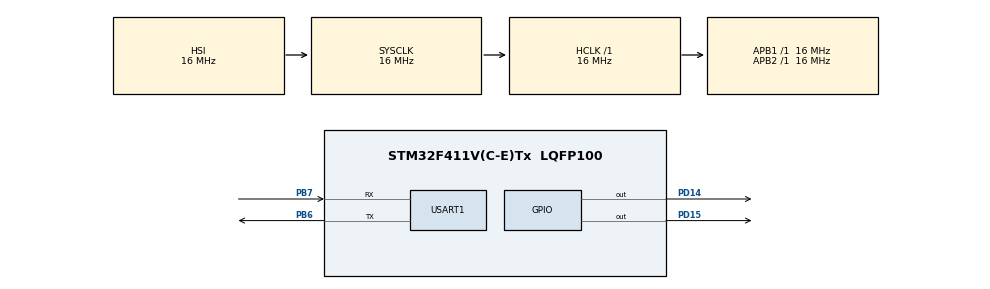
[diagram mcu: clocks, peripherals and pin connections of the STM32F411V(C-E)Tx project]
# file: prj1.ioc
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FREERTOS.Mutexes01=uart_,Dynamic,NULL,Available
FREERTOS.Queues01=data_queue_,128,uint8_t,0,Dynamic,NULL,NULL
FREERTOS.Tasks01=task1,24,128,task1_blink_red_led,Default,NULL,Dynamic,NULL,NULL;task2,8,128,task2_blink_blue_led,Default,NULL,Dynamic,NULL,NULL
Mcu.Family=STM32F4
Mcu.Name=STM32F411V(C-E)Tx
Mcu.Package=LQFP100
NVIC.PriorityGroup=NVIC_PRIORITYGROUP_4
PB6.Mode=Asynchronous
PB6.Signal=USART1_TX
PB7.Mode=Asynchronous
PB7.Signal=USART1_RX
PD14.Signal=GPIO_Output
PD15.Signal=GPIO_Output
ProjectManager.HeapSize=0x200
ProjectManager.StackSize=0x400
ProjectManager.TargetToolchain=STM32CubeIDE
RCC.AHBFreq_Value=16000000
RCC.APB1Freq_Value=16000000
RCC.APB2Freq_Value=16000000
RCC.CortexFreq_Value=16000000
RCC.HSE_VALUE=25000000
RCC.HSI_VALUE=16000000
RCC.LSE_VALUE=32768
RCC.SYSCLKFreq_VALUE=16000000
RCC.VCOOutputFreq_Value=192000000
USART1.VirtualMode=VM_ASYNC
VP_FREERTOS_VS_CMSIS_V2.Mode=CMSIS_V2
board=custom

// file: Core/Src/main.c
/* USER CODE BEGIN Header */
/**
  ******************************************************************************
  * @file           : main.c
  * @brief          : Main program body
  ******************************************************************************
  * @attention
  *
  * Copyright (c) 2025 STMicroelectronics.
  * All rights reserved.
  *
  * This software is licensed under terms that can be found in the LICENSE file
  * in the root directory of this software component.
  * If no LICENSE file comes with this software, it is provided AS-IS.
  *
  ******************************************************************************
  */
/* USER CODE END Header */
#include "main.h"
#include "cmsis_os.h"

/* USER CODE BEGIN Includes */
#include <string.h>
#include <stdarg.h>
#include <stdio.h>
/* USER CODE END Includes */

UART_HandleTypeDef huart1;

/* Definitions for task1 */
osThreadId_t task1Handle;
const osThreadAttr_t task1_attributes = {
  .name = "task1",
  .stack_size = 128 * 4,
  .priority = (osPriority_t) osPriorityNormal,
};
/* Definitions for task2 */
osThreadId_t task2Handle;
const osThreadAttr_t task2_attributes = {
  .name = "task2",
  .stack_size = 128 * 4,
  .priority = (osPriority_t) osPriorityLow,
};
/* Definitions for data_queue_ */
osMessageQueueId_t data_queue_Handle;
const osMessageQueueAttr_t data_queue__attributes = {
  .name = "data_queue_"
};
/* Definitions for uart_ */
osMutexId_t uart_Handle;
const osMutexAttr_t uart__attributes = {
  .name = "uart_"
};

void SystemClock_Config(void);
static void MX_GPIO_Init(void);
static void MX_USART1_UART_Init(void);
void task1_blink_red_led(void *argument);
void task2_blink_blue_led(void *argument);

/* USER CODE BEGIN 0 */
char* state[] = { "Inactive", "Ready", "Running", "Blocked", "Terminated" };

void my_print_log(const char* str, ...)
{
	va_list args;
	va_start(args, str);
	char buf[100] = {0};
	vsprintf(buf, str, args);
	int str_len = strlen(buf);
	for (int i = 0; i < str_len; i++)
	{
		HAL_UART_Transmit(&huart1, (uint8_t*) &buf[i], 1, HAL_MAX_DELAY);
		osDelay(100);
	}
	va_end(args);
}
/* USER CODE END 0 */

int main(void)
{

  /* MCU Configuration--------------------------------------------------------*/

  /* Reset of all peripherals, Initializes the Flash interface and the Systick. */
  HAL_Init();

  /* Configure the system clock */
  SystemClock_Config();

  /* Initialize all configured peripherals */
  MX_GPIO_Init();
  MX_USART1_UART_Init();

  /* Init scheduler */
  osKernelInitialize();
  /* Create the mutex(es) */
  /* creation of uart_ */
  uart_Handle = osMutexNew(&uart__attributes);

  /* Create the queue(s) */
  /* creation of data_queue_ */
  data_queue_Handle = osMessageQueueNew (128, sizeof(uint8_t), &data_queue__attributes);

  /* Create the thread(s) */
  /* creation of task1 */
  task1Handle = osThreadNew(task1_blink_red_led, NULL, &task1_attributes);

  /* creation of task2 */
  task2Handle = osThreadNew(task2_blink_blue_led, NULL, &task2_attributes);

  /* Start scheduler */
  osKernelStart();

  /* We should never get here as control is now taken by the scheduler */

  /* Infinite loop */
  while (1)
  {

  }
}

void SystemClock_Config(void)
{
  RCC_OscInitTypeDef RCC_OscInitStruct = {0};
  RCC_ClkInitTypeDef RCC_ClkInitStruct = {0};

  /** Configure the main internal regulator output voltage
  */
  __HAL_RCC_PWR_CLK_ENABLE();
  __HAL_PWR_VOLTAGESCALING_CONFIG(PWR_REGULATOR_VOLTAGE_SCALE1);

  /** Initializes the RCC Oscillators according to the specified parameters
  * in the RCC_OscInitTypeDef structure.
  */
  RCC_OscInitStruct.OscillatorType = RCC_OSCILLATORTYPE_HSI;
  RCC_OscInitStruct.HSIState = RCC_HSI_ON;
  RCC_OscInitStruct.HSICalibrationValue = RCC_HSICALIBRATION_DEFAULT;
  RCC_OscInitStruct.PLL.PLLState = RCC_PLL_NONE;
  if (HAL_RCC_OscConfig(&RCC_OscInitStruct) != HAL_OK)
  {
    Error_Handler();
  }

  /** Initializes the CPU, AHB and APB buses clocks
  */
  RCC_ClkInitStruct.ClockType = RCC_CLOCKTYPE_HCLK|RCC_CLOCKTYPE_SYSCLK
                              |RCC_CLOCKTYPE_PCLK1|RCC_CLOCKTYPE_PCLK2;
  RCC_ClkInitStruct.SYSCLKSource = RCC_SYSCLKSOURCE_HSI;
  RCC_ClkInitStruct.AHBCLKDivider = RCC_SYSCLK_DIV1;
  RCC_ClkInitStruct.APB1CLKDivider = RCC_HCLK_DIV1;
  RCC_ClkInitStruct.APB2CLKDivider = RCC_HCLK_DIV1;

  if (HAL_RCC_ClockConfig(&RCC_ClkInitStruct, FLASH_LATENCY_0) != HAL_OK)
  {
    Error_Handler();
  }
}

static void MX_USART1_UART_Init(void)
{

  huart1.Instance = USART1;
  huart1.Init.BaudRate = 115200;
  huart1.Init.WordLength = UART_WORDLENGTH_8B;
  huart1.Init.StopBits = UART_STOPBITS_1;
  huart1.Init.Parity = UART_PARITY_NONE;
  huart1.Init.Mode = UART_MODE_TX_RX;
  huart1.Init.HwFlowCtl = UART_HWCONTROL_NONE;
  huart1.Init.OverSampling = UART_OVERSAMPLING_16;
  if (HAL_UART_Init(&huart1) != HAL_OK)
  {
    Error_Handler();
  }

}

static void MX_GPIO_Init(void)
{
  GPIO_InitTypeDef GPIO_InitStruct = {0};

  /* GPIO Ports Clock Enable */
  __HAL_RCC_GPIOD_CLK_ENABLE();
  __HAL_RCC_GPIOB_CLK_ENABLE();

  /*Configure GPIO pin Output Level */
  HAL_GPIO_WritePin(GPIOD, GPIO_PIN_14|GPIO_PIN_15, GPIO_PIN_RESET);

  /*Configure GPIO pins : PD14 PD15 */
  GPIO_InitStruct.Pin = GPIO_PIN_14|GPIO_PIN_15;
  GPIO_InitStruct.Mode = GPIO_MODE_OUTPUT_PP;
  GPIO_InitStruct.Pull = GPIO_NOPULL;
  GPIO_InitStruct.Speed = GPIO_SPEED_FREQ_LOW;
  HAL_GPIO_Init(GPIOD, &GPIO_InitStruct);

}

void task1_blink_red_led(void *argument)
{
  /* USER CODE BEGIN 5 */
  /* Infinite loop */
  for(;;)
  {
	  osMutexAcquire(uart_Handle, HAL_MAX_DELAY);
	  my_print_log("Task 1 is Running\n");
	  osMutexRelease(uart_Handle);
    osDelay(5000);
  }
  /* USER CODE END 5 */
}

void task2_blink_blue_led(void *argument)
{
  /* USER CODE BEGIN task2_blink_blue_led */
  /* Infinite loop */
	osThreadState_t task1_state, task2_state;
  for(;;)
  {
	  task1_state = osThreadGetState(task1Handle);
	  task2_state = osThreadGetState(task2Handle);
	  osMutexAcquire(uart_Handle, HAL_MAX_DELAY);
	  my_print_log("Task 1 is %s\n", state[task1_state]);
	  my_print_log("Task 2 is %s\n", state[task2_state]);
	  osMutexRelease(uart_Handle);
    osDelay(1000);
  }
  /* USER CODE END task2_blink_blue_led */
}

void Error_Handler(void)
{
  __disable_irq();
  while (1)
  {
  }
}
